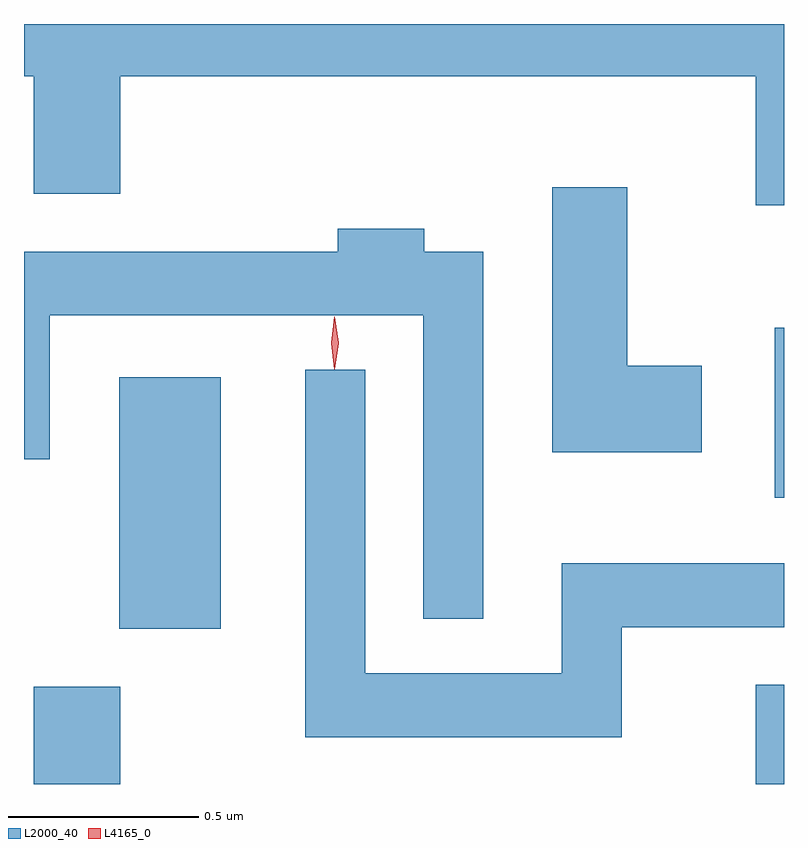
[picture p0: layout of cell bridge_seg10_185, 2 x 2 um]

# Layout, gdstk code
import gdstk
lib = gdstk.Library(unit=1e-6, precision=1e-09)
def R(c, l, rs):  # rectangles x0, y0, x1, y1
    for r in rs: c.add(gdstk.rectangle(r[:2], r[2:], *l))
def P(c, l, *ps):  # polygons
    for p in ps: c.add(gdstk.Polygon(p, *l))
L2000_40 = (2000, 40)
L4165_0 = (4165, 0)

bridge_seg10_185 = lib.new_cell('bridge_seg10_185')
R(bridge_seg10_185, L2000_40, [(1663.591,2092.073,1663.819,2092.329), (1665.491,2092.073,1665.566,2092.334), (1663.816,2092.481,1664.084,2093.144), (1665.541,2092.826,1665.566,2093.274)])
P(bridge_seg10_185, L2000_40, [(1665.566,2094.073),(1663.566,2094.073),(1663.566,2093.936),(1663.591,2093.936),(1663.591,2093.626),(1663.819,2093.626),(1663.819,2093.936),(1665.491,2093.936),(1665.491,2093.596),(1665.566,2093.596)],
  [(1665.349,2093.174),(1665.154,2093.174),(1665.154,2093.644),(1664.956,2093.644),(1664.956,2092.946),(1665.349,2092.946)],
  [(1664.774,2093.474),(1664.619,2093.474),(1664.619,2093.534),(1664.391,2093.534),(1664.391,2093.474),(1663.566,2093.474),(1663.566,2092.928),(1663.634,2092.928),(1663.634,2093.306),(1664.616,2093.306),(1664.616,2092.508),(1664.774,2092.508)],
  [(1665.139,2092.486),(1665.566,2092.486),(1665.566,2092.654),(1664.981,2092.654),(1664.981,2092.364),(1664.464,2092.364),(1664.464,2093.163),(1664.306,2093.163),(1664.306,2092.196),(1665.139,2092.196)])
P(bridge_seg10_185, L4165_0, [(1664.383,2093.167),(1664.374,2093.234),(1664.383,2093.3),(1664.384,2093.301),(1664.384,2093.3),(1664.394,2093.234),(1664.384,2093.167),(1664.384,2093.167)],
  [(1664.383,2093.164),(1664.374,2093.233),(1664.383,2093.302),(1664.384,2093.303),(1664.384,2093.302),(1664.394,2093.233),(1664.384,2093.164),(1664.384,2093.164)])

lib.write_gds('bridge_seg10_185.gds')
